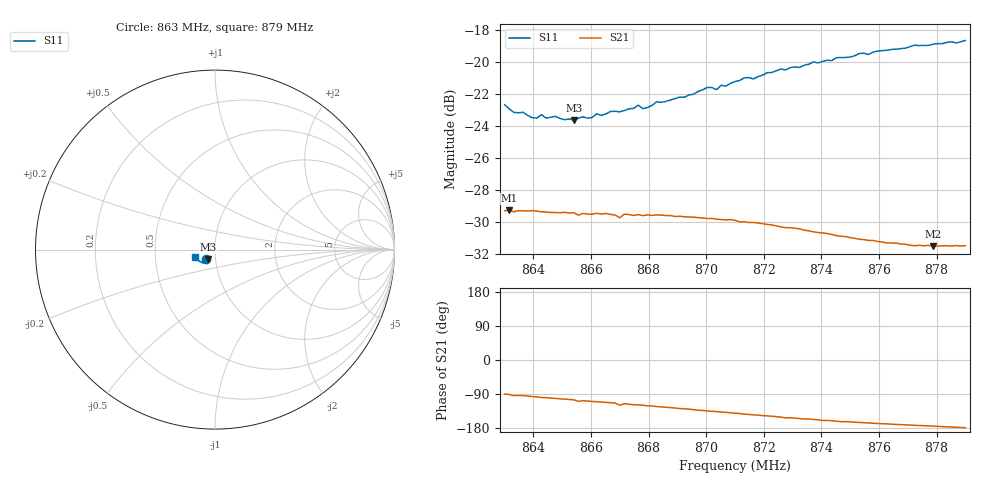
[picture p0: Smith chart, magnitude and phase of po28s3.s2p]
# HZ S RI R 50
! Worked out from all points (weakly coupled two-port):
!   101 points, 863 MHz to 879 MHz, reference 50 ohm
!   highest |S21| = -29.25 dB at 863.16 MHz (marker M1); lowest = -31.5 dB at 877.88 MHz (marker M2)
!   lowest |S11| = -23.6 dB at 865.4 MHz (marker M3), VSWR 1.14, Z = 46.2 - j5.04 ohm
!   |S11| at or under -10 dB: start of sweep to end of sweep
!   S12 and S22 are empty: the file has one direction only
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8.63e8  -0.0494 -0.0546  6.1e-05 -0.0343  0 0  0 0
8.6316e8  -0.0468 -0.0539  -0.000645 -0.0345  0 0  0 0
8.6396e8  -0.041 -0.053  -0.00376 -0.0342  0 0  0 0
8.6428e8  -0.0402 -0.0555  -0.00534 -0.0337  0 0  0 0
8.6444e8  -0.0394 -0.054  -0.00558 -0.0336  0 0  0 0
8.6476e8  -0.0402 -0.0544  -0.00672 -0.0332  0 0  0 0
8.654e8  -0.0372 -0.0543  -0.00887 -0.0327  0 0  0 0
8.6572e8  -0.0355 -0.0573  -0.01 -0.0321  0 0  0 0
8.6652e8  -0.0359 -0.0588  -0.0125 -0.0313  0 0  0 0
8.67e8  -0.0362 -0.0598  -0.016 -0.0285  0 0  0 0
8.6716e8  -0.0359 -0.0608  -0.0143 -0.0303  0 0  0 0
8.6764e8  -0.0378 -0.0628  -0.0159 -0.0294  0 0  0 0
8.6844e8  -0.0379 -0.0645  -0.0185 -0.0277  0 0  0 0
8.6924e8  -0.039 -0.0671  -0.0206 -0.0256  0 0  0 0
8.7004e8  -0.0436 -0.071  -0.0228 -0.0231  0 0  0 0
8.7036e8  -0.0435 -0.0695  -0.0233 -0.0224  0 0  0 0
8.7052e8  -0.046 -0.0711  -0.0237 -0.0219  0 0  0 0
8.71e8  -0.0488 -0.0719  -0.0247 -0.0204  0 0  0 0
8.7372e8  -0.0676 -0.0738  -0.0271 -0.0116  0 0  0 0
8.7644e8  -0.0902 -0.0621  -0.0268 -0.00493  0 0  0 0
8.7788e8  -0.1025 -0.0491  -0.0265 -0.00258  0 0  0 0
8.79e8  -0.1099 -0.0394  -0.0267 -0.000637  0 0  0 0
